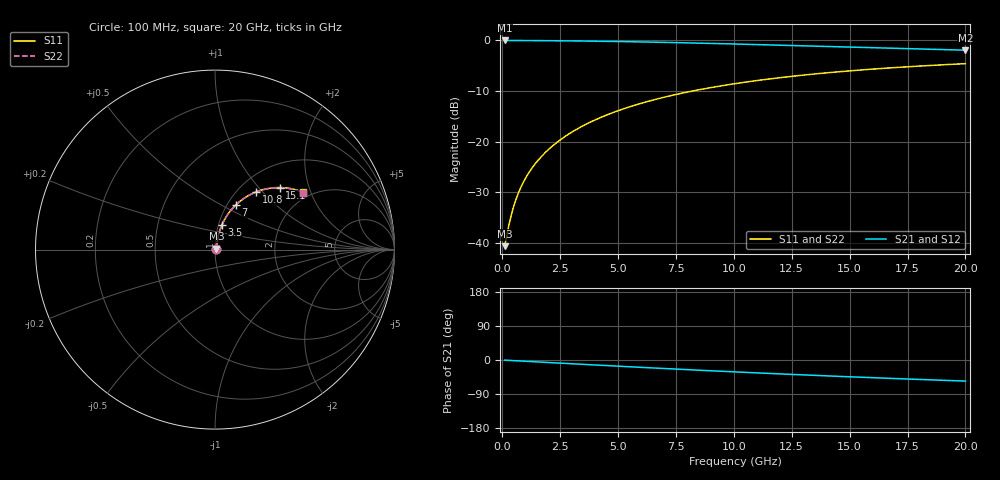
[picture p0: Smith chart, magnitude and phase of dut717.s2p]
! Touchstone file exported from HFSS 2026.1.0
!  File:  C:/ffzhzh/LocalFiles/Ansys_Project_Files/temp_train_BSMRDL_717_1783168306_43440.aedt
!  Generated:  08:33:11 PM Jul  4, 2026
!  Design:  BSMRDL
!  Project:  temp_train_BSMRDL_717_1783168306_43440
! Variables:
!  h_bsmrdl = 2.46um
!  h_ox = 20um
!  h_rdl = 5um
!  h_sub = 80um
!  h_tmrdl = 5um
!  h_tsv = 80um
!  h_via = 3um
!  l_bsmrdl = 777.15um
!  l_sub = 1177.15um
!  l_tmrdl = 200um
!  m_sub = 200um
!  pitch = 49.89um
!  r_tsv = 6um
!  s_tmrdl = 10um
!  w_bsmrdl = 13.61um
!  w_sub = 500um
!  w_tmrdl = 12um
!  x_tsv_center1 = 206um
!  x_tsv_center2 = 996.76um
!  x_tsv_center3 = 1208.76um
!  x_tsv_center4 = 1999.52um
!  x_tsv_center5 = 2211.52um
!  x_tsv_center6 = 3002.28um
# GHz S MA R 50.000000
! Terminal data exported
! Port[1] = BSM_RDL1_1_T1
! Port[2] = BSM_RDL1_1_T2
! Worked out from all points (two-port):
!   200 points, 100 MHz to 20 GHz, reference 50 ohm
!   highest |S21| = -0.07 dB at 100 MHz (marker M1); lowest = -2.0 dB at 20 GHz (marker M2)
!   |S21| within 3 dB of the highest: start of sweep to end of sweep
!   lowest |S11| = -40.6 dB at 100 MHz (marker M3), VSWR 1.02, Z = 50.8 + j0.44 ohm
!   |S11| at or under -10 dB: start of sweep to 8.254 GHz
!   |S22| runs from -40.6 to -4.6 dB; largest |S21 - S12| = 1.4e-14
!   S11 on the Smith chart (normalised r, x): 100 MHz: 1.02, +0.01; 3.5 GHz: 1.04, +0.29; 7 GHz: 1.10, +0.59; 10.8 GHz: 1.21, +0.92; 15.1 GHz: 1.42, +1.31; 20 GHz: 1.82, +1.77
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0.1  0.009314 27.7  0.9918 -0.3  0.9918 -0.3  0.009314 27.7
! Gamma 0 0 0 0
! Port Impedance 50 0 50 0
0.3  0.01554 56.2  0.9915 -1.0  0.9915 -1.0  0.01554 56.2
0.4  0.01934 62.4  0.9913 -1.4  0.9913 -1.4  0.01934 62.4
0.6  0.02728 69.0  0.9908 -2.0  0.9908 -2.0  0.02728 69.0
0.7  0.03129 70.9  0.9905 -2.4  0.9905 -2.4  0.03129 70.9
0.9  0.03935 73.3  0.99 -3.0  0.99 -3.0  0.03935 73.3
1.2  0.05145 75.3  0.9892 -4.0  0.9892 -4.0  0.05146 75.3
1.7  0.07163 76.4  0.9876 -5.7  0.9876 -5.7  0.07163 76.4
2.2  0.09178 76.4  0.9857 -7.3  0.9857 -7.3  0.09178 76.4
2.8  0.1158 75.6  0.983 -9.3  0.983 -9.3  0.1158 75.6
3.5  0.1436 74.3  0.9791 -11.5  0.9791 -11.5  0.1436 74.2
4.2  0.1709 72.6  0.9745 -13.8  0.9745 -13.8  0.1709 72.6
5  0.2014 70.5  0.9684 -16.3  0.9684 -16.3  0.2014 70.5
6.8  0.2669 65.6  0.9519 -21.9  0.9519 -21.9  0.2669 65.5
7  0.2739 65.0  0.9499 -22.5  0.9499 -22.5  0.2739 65.0
8.5  0.3242 60.8  0.9335 -27.0  0.9335 -27.0  0.3242 60.8
10.1  0.3736 56.5  0.9145 -31.6  0.9145 -31.6  0.3736 56.4
10.8  0.3938 54.6  0.9058 -33.5  0.9058 -33.5  0.3938 54.5
13.4  0.4614 47.9  0.873 -40.4  0.873 -40.4  0.4614 47.8
15.1  0.4995 43.8  0.8517 -44.6  0.8517 -44.6  0.4995 43.7
16.7  0.5313 40.1  0.8323 -48.4  0.8323 -48.4  0.5313 40.0
20  0.5856 33.0  0.7954 -55.6  0.7954 -55.6  0.5856 32.8
